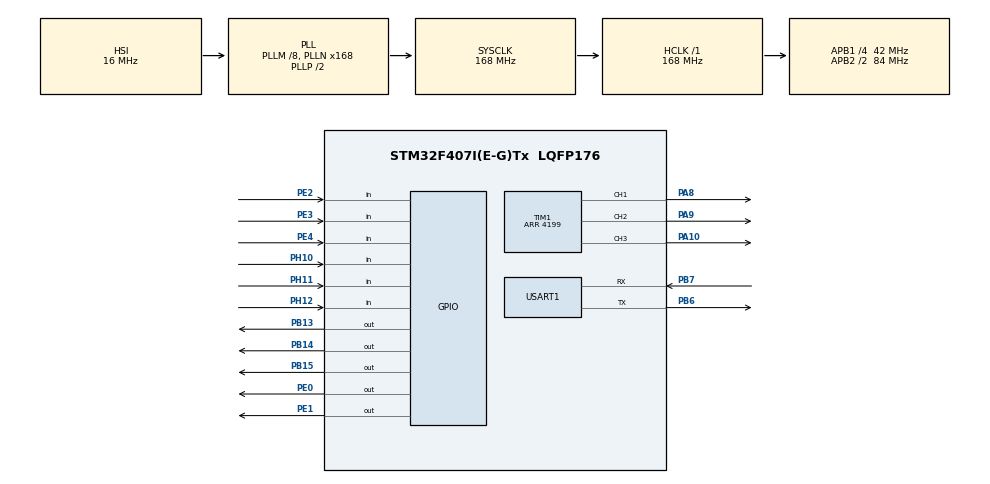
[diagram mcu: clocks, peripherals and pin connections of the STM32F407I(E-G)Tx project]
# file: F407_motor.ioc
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Mcu.Family=STM32F4
Mcu.Name=STM32F407I(E-G)Tx
Mcu.Package=LQFP176
NVIC.PriorityGroup=NVIC_PRIORITYGROUP_4
NVIC.TIM6_DAC_IRQn=true\:0\:0\:false\:false\:true\:true\:true\:true
NVIC.USART1_IRQn=true\:0\:0\:false\:false\:true\:true\:true\:true
PA10.Signal=S_TIM1_CH3
PA13.Mode=Serial_Wire
PA13.Signal=SYS_JTMS-SWDIO
PA14.Mode=Serial_Wire
PA14.Signal=SYS_JTCK-SWCLK
PA8.Signal=S_TIM1_CH1
PA9.Signal=S_TIM1_CH2
PB13.Signal=GPIO_Output
PB14.Signal=GPIO_Output
PB15.Signal=GPIO_Output
PB6.Mode=Asynchronous
PB6.Signal=USART1_TX
PB7.Mode=Asynchronous
PB7.Signal=USART1_RX
PC14-OSC32_IN.Mode=LSE-External-Oscillator
PC14-OSC32_IN.Signal=RCC_OSC32_IN
PC15-OSC32_OUT.Mode=LSE-External-Oscillator
PC15-OSC32_OUT.Signal=RCC_OSC32_OUT
PE0.Signal=GPIO_Output
PE1.Signal=GPIO_Output
PE2.GPIO_PuPd=GPIO_PULLUP
PE2.Signal=GPIO_Input
PE3.GPIO_PuPd=GPIO_PULLUP
PE3.Signal=GPIO_Input
PE4.GPIO_PuPd=GPIO_PULLUP
PE4.Signal=GPIO_Input
PH0-OSC_IN.Mode=HSE-External-Oscillator
PH0-OSC_IN.Signal=RCC_OSC_IN
PH1-OSC_OUT.Mode=HSE-External-Oscillator
PH1-OSC_OUT.Signal=RCC_OSC_OUT
PH10.Signal=GPIO_Input
PH11.Signal=GPIO_Input
PH12.Signal=GPIO_Input
ProjectManager.HeapSize=0x200
ProjectManager.StackSize=0x400
ProjectManager.TargetToolchain=MDK-ARM V5.32
RCC.48MHZClocksFreq_Value=84000000
RCC.AHBFreq_Value=168000000
RCC.APB1CLKDivider=RCC_HCLK_DIV4
RCC.APB1Freq_Value=42000000
RCC.APB1TimFreq_Value=84000000
RCC.APB2CLKDivider=RCC_HCLK_DIV2
RCC.APB2Freq_Value=84000000
RCC.APB2TimFreq_Value=168000000
RCC.CortexFreq_Value=168000000
RCC.HCLKFreq_Value=168000000
RCC.HSE_VALUE=8000000
RCC.HSI_VALUE=16000000
RCC.PLLM=8
RCC.PLLN=168
RCC.SYSCLKFreq_VALUE=168000000
RCC.SYSCLKSource=RCC_SYSCLKSOURCE_PLLCLK
RCC.VCOOutputFreq_Value=336000000
SH.S_TIM1_CH1.0=TIM1_CH1,PWM Generation1 CH1
SH.S_TIM1_CH2.0=TIM1_CH2,PWM Generation2 CH2
SH.S_TIM1_CH3.0=TIM1_CH3,PWM Generation3 CH3
TIM1.AutoReloadPreload=TIM_AUTORELOAD_PRELOAD_ENABLE
TIM1.Channel-PWM\ Generation1\ CH1=TIM_CHANNEL_1
TIM1.Channel-PWM\ Generation2\ CH2=TIM_CHANNEL_2
TIM1.Channel-PWM\ Generation3\ CH3=TIM_CHANNEL_3
TIM1.CounterMode=TIM_COUNTERMODE_CENTERALIGNED1
TIM1.OffStateIDLEMode=TIM_OSSI_ENABLE
TIM1.Period=4199
TIM6.Period=999
TIM6.Prescaler=8399
USART1.VirtualMode=VM_ASYNC
VP_TIM1_VS_ClockSourceINT.Mode=Internal
VP_TIM6_VS_ClockSourceINT.Mode=Enable_Timer
board=custom

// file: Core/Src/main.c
/* USER CODE BEGIN Header */
/**
  ******************************************************************************
  * @file           : main.c
  * @brief          : Main program body
  ******************************************************************************
  * @attention
  *
  * Copyright (c) 2026 STMicroelectronics.
  * All rights reserved.
  *
  * This software is licensed under terms that can be found in the LICENSE file
  * in the root directory of this software component.
  * If no LICENSE file comes with this software, it is provided AS-IS.
  *
  ******************************************************************************
  */
/* USER CODE END Header */
#include "main.h"
#include "tim.h"
#include "usart.h"
#include "gpio.h"

/* USER CODE BEGIN Includes */
#include "stdio.h"
#include "string.h"
#include "led.h"
#include "key.h"
#include "hall.h"
#include "bldc.h"
/* USER CODE END Includes */

void SystemClock_Config(void);

int main(void)
{

  /* MCU Configuration--------------------------------------------------------*/

  /* Reset of all peripherals, Initializes the Flash interface and the Systick. */
  HAL_Init();

  /* Configure the system clock */
  SystemClock_Config();

  /* Initialize all configured peripherals */
  MX_GPIO_Init();
  MX_USART1_UART_Init();
  MX_TIM6_Init();
  MX_TIM1_Init();
  /* USER CODE BEGIN 2 */
  HAL_UARTEx_ReceiveToIdle_IT(&huart1, rx_tmp1, sizeof(rx_tmp1));

////	//启动CH1和CH1N互补PWM
//	HAL_TIM_PWM_Start(&htim1, TIM_CHANNEL_1);
//	HAL_TIM_PWM_Start(&htim1, TIM_CHANNEL_2);
//	HAL_TIM_PWM_Start(&htim1, TIM_CHANNEL_3);
//  HAL_TIMEx_PWMN_Start(&htim1, TIM_CHANNEL_1);
//	//高级定时器必须打�?MOE主输出使能！否则没有波形
//	__HAL_TIM_MOE_ENABLE(&htim1);

//  HAL_Delay(5000);
////	HAL_TIM_PWM_Stop(&htim1, TIM_CHANNEL_1);
////  HAL_TIMEx_PWMN_Stop(&htim1, TIM_CHANNEL_1);
//  __HAL_TIM_MOE_DISABLE_UNCONDITIONALLY(&htim1);
   BLDC_Init();

  /* USER CODE END 2 */

  /* Infinite loop */
  /* USER CODE BEGIN WHILE */
  while (1)
  {
		BLDC_Process();
    /* USER CODE END WHILE */

    /* USER CODE BEGIN 3 */
//		HAL_Delay(1000);
//		LED0_ON();
//		HAL_Delay(100);
//		LED0_OFF();
		if(rx_buf1_flag)
		{
			// 处理 rx_buf2，长�? = count2
			rx_buf1_flag = 0;

			// 2. 打印接收到的数据（�?�过串口2打印�?
			printf("reback: \r\n");
			// 3. 原样发回去（串口2发�?�）
			HAL_UART_Transmit(&huart1, rx_buf1, rx_len1, 1000);  // 100ms超时
			printf("\r\n");

			// 4. 清空接收缓冲区（可�?�）
			memset(rx_buf1, 0, sizeof(rx_buf1));
			rx_len1 = 0;  // 重置长度
		}
//		GetHall_Value();
  }
  /* USER CODE END 3 */
}

void SystemClock_Config(void)
{
  RCC_OscInitTypeDef RCC_OscInitStruct = {0};
  RCC_ClkInitTypeDef RCC_ClkInitStruct = {0};

  /** Configure the main internal regulator output voltage
  */
  __HAL_RCC_PWR_CLK_ENABLE();
  __HAL_PWR_VOLTAGESCALING_CONFIG(PWR_REGULATOR_VOLTAGE_SCALE1);

  /** Initializes the RCC Oscillators according to the specified parameters
  * in the RCC_OscInitTypeDef structure.
  */
  RCC_OscInitStruct.OscillatorType = RCC_OSCILLATORTYPE_HSI;
  RCC_OscInitStruct.HSIState = RCC_HSI_ON;
  RCC_OscInitStruct.HSICalibrationValue = RCC_HSICALIBRATION_DEFAULT;
  RCC_OscInitStruct.PLL.PLLState = RCC_PLL_ON;
  RCC_OscInitStruct.PLL.PLLSource = RCC_PLLSOURCE_HSI;
  RCC_OscInitStruct.PLL.PLLM = 8;
  RCC_OscInitStruct.PLL.PLLN = 168;
  RCC_OscInitStruct.PLL.PLLP = RCC_PLLP_DIV2;
  RCC_OscInitStruct.PLL.PLLQ = 4;
  if (HAL_RCC_OscConfig(&RCC_OscInitStruct) != HAL_OK)
  {
    Error_Handler();
  }

  /** Initializes the CPU, AHB and APB buses clocks
  */
  RCC_ClkInitStruct.ClockType = RCC_CLOCKTYPE_HCLK|RCC_CLOCKTYPE_SYSCLK
                              |RCC_CLOCKTYPE_PCLK1|RCC_CLOCKTYPE_PCLK2;
  RCC_ClkInitStruct.SYSCLKSource = RCC_SYSCLKSOURCE_PLLCLK;
  RCC_ClkInitStruct.AHBCLKDivider = RCC_SYSCLK_DIV1;
  RCC_ClkInitStruct.APB1CLKDivider = RCC_HCLK_DIV4;
  RCC_ClkInitStruct.APB2CLKDivider = RCC_HCLK_DIV2;

  if (HAL_RCC_ClockConfig(&RCC_ClkInitStruct, FLASH_LATENCY_5) != HAL_OK)
  {
    Error_Handler();
  }
}

void Error_Handler(void)
{
  __disable_irq();
  while (1)
  {
  }
}
